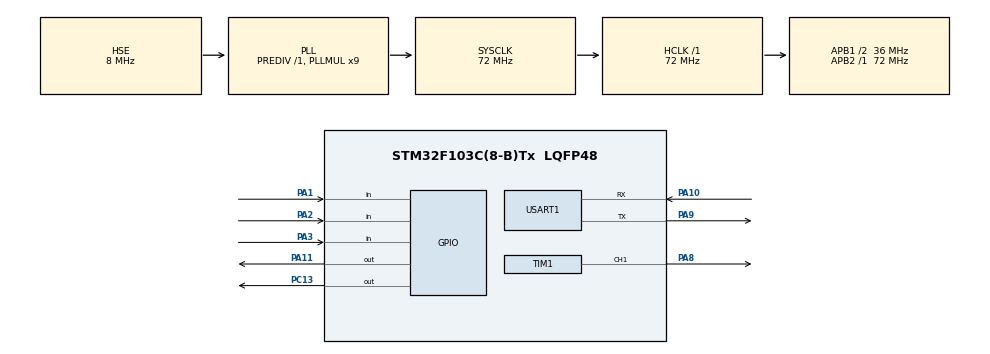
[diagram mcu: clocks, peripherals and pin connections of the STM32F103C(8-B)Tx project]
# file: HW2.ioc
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Mcu.Family=STM32F1
Mcu.Name=STM32F103C(8-B)Tx
Mcu.Package=LQFP48
NVIC.PriorityGroup=NVIC_PRIORITYGROUP_4
NVIC.TIM3_IRQn=true\:0\:0\:false\:false\:true\:true\:true\:true
NVIC.USART1_IRQn=true\:0\:0\:false\:false\:true\:true\:true\:true
PA1.GPIO_PuPd=GPIO_PULLUP
PA1.Signal=GPIO_Input
PA10.Mode=Asynchronous
PA10.Signal=USART1_RX
PA11.Signal=GPIO_Output
PA13.Mode=Serial_Wire
PA13.Signal=SYS_JTMS-SWDIO
PA14.Mode=Serial_Wire
PA14.Signal=SYS_JTCK-SWCLK
PA2.GPIO_PuPd=GPIO_PULLUP
PA2.Signal=GPIO_Input
PA3.GPIO_PuPd=GPIO_PULLUP
PA3.Signal=GPIO_Input
PA8.Signal=S_TIM1_CH1
PA9.Mode=Asynchronous
PA9.Signal=USART1_TX
PC13-TAMPER-RTC.Signal=GPIO_Output
PD0-OSC_IN.Mode=HSE-External-Oscillator
PD0-OSC_IN.Signal=RCC_OSC_IN
PD1-OSC_OUT.Mode=HSE-External-Oscillator
PD1-OSC_OUT.Signal=RCC_OSC_OUT
ProjectManager.HeapSize=0x200
ProjectManager.StackSize=0x400
ProjectManager.TargetToolchain=MDK-ARM V5.32
RCC.AHBFreq_Value=72000000
RCC.APB1CLKDivider=RCC_HCLK_DIV2
RCC.APB1Freq_Value=36000000
RCC.APB1TimFreq_Value=72000000
RCC.APB2Freq_Value=72000000
RCC.APB2TimFreq_Value=72000000
RCC.HCLKFreq_Value=72000000
RCC.PLLMUL=RCC_PLL_MUL9
RCC.PLLSourceVirtual=RCC_PLLSOURCE_HSE
RCC.SYSCLKFreq_VALUE=72000000
RCC.SYSCLKSource=RCC_SYSCLKSOURCE_PLLCLK
RCC.USBFreq_Value=72000000
SH.S_TIM1_CH1.0=TIM1_CH1,PWM Generation1 CH1
TIM1.AutoReloadPreload=TIM_AUTORELOAD_PRELOAD_ENABLE
TIM1.Channel-PWM\ Generation1\ CH1=TIM_CHANNEL_1
TIM1.Period=2999
TIM1.Prescaler=719
TIM3.AutoReloadPreload=TIM_AUTORELOAD_PRELOAD_ENABLE
TIM3.Period=999
TIM3.Prescaler=71
USART1.VirtualMode=VM_ASYNC
VP_TIM1_VS_ClockSourceINT.Mode=Internal
VP_TIM2_VS_ClockSourceINT.Mode=Internal
VP_TIM3_VS_ClockSourceINT.Mode=Internal
board=custom

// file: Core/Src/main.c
/* USER CODE BEGIN Header */
/**
 ******************************************************************************
 * @file           : main.c
 * @brief          : Main program body
 ******************************************************************************
 * @attention
 *
 * Copyright (c) 2026 STMicroelectronics.
 * All rights reserved.
 *
 * This software is licensed under terms that can be found in the LICENSE file
 * in the root directory of this software component.
 * If no LICENSE file comes with this software, it is provided AS-IS.
 *
 ******************************************************************************
 */
/* USER CODE END Header */
#include "main.h"
#include "tim.h"
#include "usart.h"
#include "gpio.h"

/* USER CODE BEGIN Includes */
#include "OLED.h"
/* USER CODE END Includes */

void SystemClock_Config(void);
/* USER CODE BEGIN PFP */
uint8_t ServoAng = 90;
uint8_t ENC_CLK = 0;
uint8_t BuzzerTim = 200;
uint8_t UartReceived = 0;

void Enc_Callback()
{
  if (ENC_CLK == 1 && HAL_GPIO_ReadPin(GPIOA, GPIO_PIN_3) == 0)
  {
    if (HAL_GPIO_ReadPin(GPIOA, GPIO_PIN_2))
    {
      if (ServoAng < 180)
        ServoAng++;
    }
    else
    {
      if (ServoAng > 0)
        ServoAng--;
    }
  }
  ENC_CLK = HAL_GPIO_ReadPin(GPIOA, GPIO_PIN_3);
  //编码器信号检测

  if (BuzzerTim > 0)
  {
    BuzzerTim--;
    HAL_GPIO_TogglePin(GPIOA, GPIO_PIN_11);
  }//蜂鸣器控制
}
//编码器&蜂鸣器中断回调函数，使用定时器3中断，频率1Khz

void HAL_UART_RxCpltCallback(UART_HandleTypeDef *huart)
{
  if (huart->Instance == USART1)
  {
      BuzzerTim = 200;
      ServoAng = UartReceived % 181;

    HAL_UART_Receive_IT(&huart1, &UartReceived, 1);
  }
}
//串口中断回调函数

/* USER CODE END PFP */

int main(void)
{

  /* MCU Configuration--------------------------------------------------------*/

  /* Reset of all peripherals, Initializes the Flash interface and the Systick. */
  HAL_Init();

  /* Configure the system clock */
  SystemClock_Config();

  /* Initialize all configured peripherals */
  MX_GPIO_Init();
  MX_TIM1_Init();
  MX_TIM2_Init();
  MX_USART1_UART_Init();
  MX_TIM3_Init();
  /* USER CODE BEGIN 2 */

  uint8_t ButtonCliked = 1;

  OLED_Init();
  HAL_TIM_PWM_Start(&htim1, TIM_CHANNEL_1);
  HAL_TIM_Base_Start_IT(&htim3);
  __HAL_TIM_SetCompare(&htim1, TIM_CHANNEL_1, 150);
  HAL_UART_Receive_IT(&huart1, &UartReceived, 1);
  //相关初始化

  /* USER CODE END 2 */

  /* Infinite loop */
  /* USER CODE BEGIN WHILE */
  while (1)
  {

    if (ButtonCliked && HAL_GPIO_ReadPin(GPIOA, GPIO_PIN_1))
    {
      ButtonCliked = 0;
    }
    if (!ButtonCliked && !HAL_GPIO_ReadPin(GPIOA, GPIO_PIN_1))
    {
      ServoAng = 90;
      BuzzerTim = 200;
      ButtonCliked = 1;
    }
    //检测按键是否按下

    __HAL_TIM_SetCompare(&htim1, TIM_CHANNEL_1, (int)((float)ServoAng * 1.11) + 50);
    //设置PWM占空比，乘1.11是为了将0-180映射到50-250的范围内

    OLED_ShowNum(1, 3, ServoAng, 3);
    //在OLED上显示角度值
    HAL_Delay(10);

    /* USER CODE END WHILE */

  }
}

void SystemClock_Config(void)
{
  RCC_OscInitTypeDef RCC_OscInitStruct = {0};
  RCC_ClkInitTypeDef RCC_ClkInitStruct = {0};

  /** Initializes the RCC Oscillators according to the specified parameters
   * in the RCC_OscInitTypeDef structure.
   */
  RCC_OscInitStruct.OscillatorType = RCC_OSCILLATORTYPE_HSE;
  RCC_OscInitStruct.HSEState = RCC_HSE_ON;
  RCC_OscInitStruct.HSEPredivValue = RCC_HSE_PREDIV_DIV1;
  RCC_OscInitStruct.HSIState = RCC_HSI_ON;
  RCC_OscInitStruct.PLL.PLLState = RCC_PLL_ON;
  RCC_OscInitStruct.PLL.PLLSource = RCC_PLLSOURCE_HSE;
  RCC_OscInitStruct.PLL.PLLMUL = RCC_PLL_MUL9;
  if (HAL_RCC_OscConfig(&RCC_OscInitStruct) != HAL_OK)
  {
    Error_Handler();
  }

  /** Initializes the CPU, AHB and APB buses clocks
   */
  RCC_ClkInitStruct.ClockType = RCC_CLOCKTYPE_HCLK | RCC_CLOCKTYPE_SYSCLK | RCC_CLOCKTYPE_PCLK1 | RCC_CLOCKTYPE_PCLK2;
  RCC_ClkInitStruct.SYSCLKSource = RCC_SYSCLKSOURCE_PLLCLK;
  RCC_ClkInitStruct.AHBCLKDivider = RCC_SYSCLK_DIV1;
  RCC_ClkInitStruct.APB1CLKDivider = RCC_HCLK_DIV2;
  RCC_ClkInitStruct.APB2CLKDivider = RCC_HCLK_DIV1;

  if (HAL_RCC_ClockConfig(&RCC_ClkInitStruct, FLASH_LATENCY_2) != HAL_OK)
  {
    Error_Handler();
  }
}

void Error_Handler(void)
{
  __disable_irq();
  while (1)
  {
  }
}
